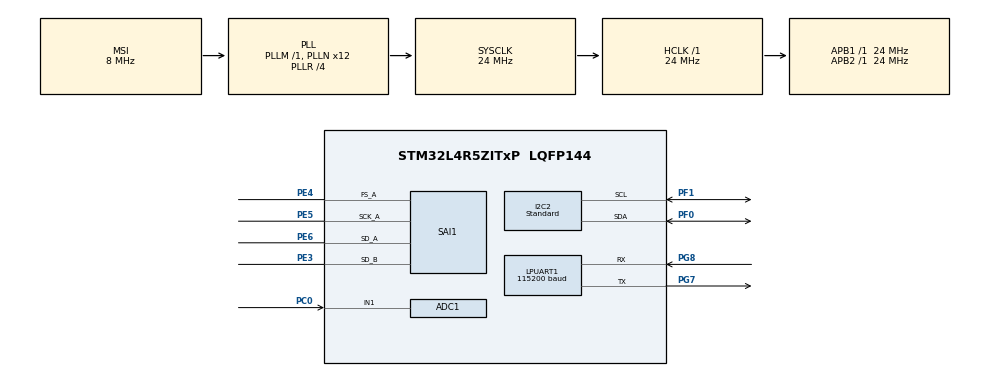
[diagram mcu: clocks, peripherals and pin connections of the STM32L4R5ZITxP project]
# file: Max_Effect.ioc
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ADC1.Channel-0\#ChannelRegularConversion=ADC_CHANNEL_1
ADC1.ClockPrescaler=ADC_CLOCK_ASYNC_DIV16
ADC1.NbrOfConversion=1
ADC1.NbrOfConversionFlag=1
ADC1.OffsetNumber-0\#ChannelRegularConversion=ADC_OFFSET_NONE
ADC1.Rank-0\#ChannelRegularConversion=1
ADC1.SamplingTime-0\#ChannelRegularConversion=ADC_SAMPLETIME_2CYCLES_5
ADC1.master=1
Dma.Request0=SAI1_A
Dma.Request1=SAI1_B
Dma.SAI1_A.0.Direction=DMA_MEMORY_TO_PERIPH
Dma.SAI1_A.0.EventEnable=DISABLE
Dma.SAI1_A.0.Instance=DMA1_Channel1
Dma.SAI1_A.0.MemDataAlignment=DMA_MDATAALIGN_HALFWORD
Dma.SAI1_A.0.MemInc=DMA_MINC_ENABLE
Dma.SAI1_A.0.Mode=DMA_CIRCULAR
Dma.SAI1_A.0.PeriphDataAlignment=DMA_PDATAALIGN_HALFWORD
Dma.SAI1_A.0.PeriphInc=DMA_PINC_DISABLE
Dma.SAI1_A.0.Polarity=HAL_DMAMUX_REQUEST_GEN_RISING
Dma.SAI1_A.0.Priority=DMA_PRIORITY_HIGH
Dma.SAI1_A.0.RequestNumber=1
Dma.SAI1_A.0.SignalID=NONE
Dma.SAI1_A.0.SyncEnable=DISABLE
Dma.SAI1_A.0.SyncPolarity=HAL_DMAMUX_SYNC_NO_EVENT
Dma.SAI1_A.0.SyncRequestNumber=1
Dma.SAI1_A.0.SyncSignalID=NONE
Dma.SAI1_B.1.Direction=DMA_PERIPH_TO_MEMORY
Dma.SAI1_B.1.EventEnable=DISABLE
Dma.SAI1_B.1.Instance=DMA1_Channel2
Dma.SAI1_B.1.MemDataAlignment=DMA_MDATAALIGN_HALFWORD
Dma.SAI1_B.1.MemInc=DMA_MINC_ENABLE
Dma.SAI1_B.1.Mode=DMA_CIRCULAR
Dma.SAI1_B.1.PeriphDataAlignment=DMA_PDATAALIGN_HALFWORD
Dma.SAI1_B.1.PeriphInc=DMA_PINC_DISABLE
Dma.SAI1_B.1.Polarity=HAL_DMAMUX_REQUEST_GEN_RISING
Dma.SAI1_B.1.Priority=DMA_PRIORITY_HIGH
Dma.SAI1_B.1.RequestNumber=1
Dma.SAI1_B.1.SignalID=NONE
Dma.SAI1_B.1.SyncEnable=DISABLE
Dma.SAI1_B.1.SyncPolarity=HAL_DMAMUX_SYNC_NO_EVENT
Dma.SAI1_B.1.SyncRequestNumber=1
Dma.SAI1_B.1.SyncSignalID=NONE
I2C2.CustomTiming=Disabled
I2C2.I2C_Fall_Time=100
I2C2.I2C_Rise_Time=100
I2C2.I2C_Speed_Mode=I2C_Standard
I2C2.Timing=0x00805C87
LPUART1.BaudRate=115200
LPUART1.WordLength=UART_WORDLENGTH_8B
Mcu.Family=STM32L4
Mcu.Name=STM32L4R5ZITxP
Mcu.Package=LQFP144
NVIC.DMA1_Channel1_IRQn=true\:0\:0\:false\:false\:true\:false\:true\:true
NVIC.DMA1_Channel2_IRQn=true\:0\:0\:false\:false\:true\:false\:true\:true
NVIC.PriorityGroup=NVIC_PRIORITYGROUP_4
NVIC.SAI1_IRQn=true\:0\:0\:false\:false\:true\:true\:true\:true
PA0.Signal=S_TIM2_CH1
PA1.Signal=ADCx_IN6
PA10.Signal=USB_OTG_FS_ID
PA13\ (JTMS/SWDIO).Signal=SYS_JTMS-SWDIO
PA14\ (JTCK/SWCLK).Signal=SYS_JTCK-SWCLK
PA3.Signal=ADCx_IN8
PA4.Signal=SPI1_NSS
PA5.Signal=SPI1_SCK
PA6.Signal=SPI1_MISO
PA7.Signal=SPI1_MOSI
PA8.Signal=USB_OTG_FS_SOF
PA9.Signal=USB_OTG_FS_VBUS
PB0.Signal=S_TIM3_CH3
PB1.Signal=ADCx_IN16
PB10.Signal=S_TIM2_CH3
PB12.Signal=SAI2_FS_A
PB13.Signal=SAI2_SCK_A
PB14.Signal=S_TIM15_CH1
PB15.Signal=SAI2_SD_A
PB2.Signal=COMP1_INP
PB3\ (JTDO/TRACESWO).Signal=SPI3_SCK
PB4\ (NJTRST).Signal=SPI3_MISO
PB5.Signal=SPI3_MOSI
PB6.Signal=COMP2_INP
PB8.Signal=I2C1_SCL
PB9.Signal=I2C1_SDA
PC0.Signal=ADCx_IN1
PC1.Signal=ADCx_IN2
PC10.Signal=SDMMC1_D2
PC11.Signal=SDMMC1_D3
PC12.Signal=SDMMC1_CK
PC13.Signal=SYS_WKUP2
PC14-OSC32_IN\ (PC14).Signal=RCC_OSC32_IN
PC15-OSC32_OUT\ (PC15).Signal=RCC_OSC32_OUT
PC2.Signal=ADCx_IN3
PC3.Signal=ADCx_IN4
PC4.Signal=ADCx_IN13
PC5.Signal=ADCx_IN14
PC6.Signal=SAI2_MCLK_A
PC7.Signal=S_TIM3_CH2
PC8.Signal=SDMMC1_D0
PC9.Signal=SDMMC1_D1
PD0.Signal=CAN1_RX
PD14.Signal=S_TIM4_CH3
PD15.Signal=S_TIM4_CH4
PD2.Signal=SDMMC1_CMD
PD3.Signal=USART2_CTS
PD4.Signal=USART2_RTS
PD5.Signal=USART2_TX
PD6.Signal=USART2_RX
PD8.Signal=USART3_TX
PD9.Signal=USART3_RX
PE0.Signal=S_TIM4_ETR
PE10.Signal=TIM1_CH2N
PE11.Signal=S_TIM1_CH2
PE12.Signal=TIM1_CH3N
PE13.Signal=S_TIM1_CH3
PE14.Signal=TIM1_BKIN2
PE15.Signal=TIM1_BKIN
PE2.Signal=SAI1_MCLK_A
PE3.Mode=SAI_B_SyncSlave
PE3.Signal=SAI1_SD_B
PE4.Mode=SAI_A_AsyncSlave
PE4.Signal=SAI1_FS_A
PE5.Mode=SAI_A_AsyncSlave
PE5.Signal=SAI1_SCK_A
PE6.Mode=SAI_A_AsyncSlave
PE6.Signal=SAI1_SD_A
PE7.Signal=S_TIM1_ETR
PE8.Signal=TIM1_CH1N
PE9.Signal=S_TIM1_CH1
PF0.Mode=I2C
PF0.Signal=I2C2_SDA
PF1.Mode=I2C
PF1.Signal=I2C2_SCL
PF2.Signal=I2C2_SMBA
PF7.Signal=SAI1_MCLK_B
PG7.Mode=Asynchronous
PG7.Signal=LPUART1_TX
PG8.Mode=Asynchronous
PG8.Signal=LPUART1_RX
PH0-OSC_IN\ (PH0).Signal=RCC_OSC_IN
PH1-OSC_OUT\ (PH1).Signal=RCC_OSC_OUT
ProjectManager.HeapSize=0x200
ProjectManager.StackSize=0x400
ProjectManager.TargetToolchain=STM32CubeIDE
RCC.ADCFreq_Value=16000000
RCC.AHBFreq_Value=24000000
RCC.APB1Freq_Value=24000000
RCC.APB1TimFreq_Value=24000000
RCC.APB2Freq_Value=24000000
RCC.APB2TimFreq_Value=24000000
RCC.CortexFreq_Value=24000000
RCC.HCLKFreq_Value=24000000
RCC.HSE_VALUE=8000000
RCC.HSI48_VALUE=48000000
RCC.HSI_VALUE=16000000
RCC.LSE_VALUE=32768
RCC.MSIClockRange=RCC_MSIRANGE_7
RCC.MSI_VALUE=8000000
RCC.PLLN=12
RCC.PLLR=RCC_PLLR_DIV4
RCC.PLLSAI1N=12
RCC.PLLSAI1P=RCC_PLLP_DIV4
RCC.PLLSAI1R=RCC_PLLR_DIV6
RCC.SYSCLKFreq_VALUE=24000000
RCC.SYSCLKSource=RCC_SYSCLKSOURCE_PLLCLK
RCC.USBFreq_Value=48000000
RCC.VCOOutputFreq_Value=96000000
SAI1.AudioMode-SAI_A_AsyncSlave=SAI_MODESLAVE_TX
SAI1.InitProtocol-SAI_A_AsyncSlave=Enable
SAI1.InitProtocol-SAI_B_SyncSlave=Enable
SAI1.Instance-SAI_A_AsyncSlave=SAI$Index_Block_A
SAI1.Instance-SAI_B_SyncSlave=SAI$Index_Block_B
SAI1.MonoStereoMode-SAI_B_SyncSlave=SAI_STEREOMODE
SAI1.VirtualMode-SAI_A_AsyncSlave=VM_SLAVE
SAI1.VirtualMode-SAI_B_SyncSlave=VM_SLAVE
SAI1.VirtualProtocol-SAI_A_BASIC=VM_BASIC_PROTOCOL
SAI1.VirtualProtocol-SAI_B_BASIC=VM_BASIC_PROTOCOL
SH.ADCx_IN1.0=ADC1_IN1,IN1-Single-Ended
SH.ADCx_IN13.0=ADC1_IN13
SH.ADCx_IN14.0=ADC1_IN14
SH.ADCx_IN16.0=ADC1_IN16
SH.ADCx_IN2.0=ADC1_IN2
SH.ADCx_IN3.0=ADC1_IN3
SH.ADCx_IN4.0=ADC1_IN4
SH.ADCx_IN6.0=ADC1_IN6
SH.ADCx_IN8.0=ADC1_IN8
SH.S_TIM15_CH1.0=TIM15_CH1
SH.S_TIM1_CH1.0=TIM1_CH1
SH.S_TIM1_CH2.0=TIM1_CH2
SH.S_TIM1_CH3.0=TIM1_CH3
SH.S_TIM1_ETR.0=TIM1_ETR
SH.S_TIM2_CH1.0=TIM2_CH1
SH.S_TIM2_CH3.0=TIM2_CH3
SH.S_TIM3_CH2.0=TIM3_CH2
SH.S_TIM3_CH3.0=TIM3_CH3
SH.S_TIM4_CH3.0=TIM4_CH3
SH.S_TIM4_CH4.0=TIM4_CH4
SH.S_TIM4_ETR.0=TIM4_ETR
VP_SAI1_VP_$IpInstance_SAIA_SAI_BASIC.Mode=SAI_A_BASIC
VP_SAI1_VP_$IpInstance_SAIB_SAI_BASIC.Mode=SAI_B_BASIC
board=NUCLEO-L4R5ZI-P

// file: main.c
/* USER CODE BEGIN Header */
/**
  ******************************************************************************
  * @file           : main.c
  * @brief          : Main program body
  ******************************************************************************
  * @attention
  *
  * Copyright (c) 2026 STMicroelectronics.
  * All rights reserved.
  *
  * This software is licensed under terms that can be found in the LICENSE file
  * in the root directory of this software component.
  * If no LICENSE file comes with this software, it is provided AS-IS.
  *
  ******************************************************************************
  *
  * For Max Effect Project
  *
  ******************************************************************************
  */
/* USER CODE END Header */
#include "main.h"

/* USER CODE BEGIN Includes */
#include <stdio.h>
#include "UI_headers/tuner.h"
#define MCU_ADC_DMA
#include "UI_headers/adc_audio.h"
#include "UI_headers/pedal_effect.h"
/* USER CODE END Includes */

/* USER CODE BEGIN PD */

// #define RELEASE
//#define _DEBUG_
// #define TUNER
//#define PEDAL_EFFECTS
// #define SCREEN
#define CODEC
//#define FILTER

#if defined(MCU_ADC_DMA) && (!defined(CODEC) || defined(FILTER) || defined(PEDAL_EFFECTS) || defined(TUNER))
#error "ADC DMA passthrough owns the audio stream; disable other test modes."
#endif

/* USER CODE END PD */

ADC_HandleTypeDef hadc1;

I2C_HandleTypeDef hi2c2;

UART_HandleTypeDef hlpuart1;

SAI_HandleTypeDef hsai_BlockA1;
SAI_HandleTypeDef hsai_BlockB1;
DMA_HandleTypeDef hdma_sai1_a;
DMA_HandleTypeDef hdma_sai1_b;

void SystemClock_Config(void);
void PeriphCommonClock_Config(void);
static void MX_GPIO_Init(void);
static void MX_DMA_Init(void);
static void MX_ADC1_Init(void);
static void MX_LPUART1_UART_Init(void);
static void MX_I2C2_Init(void);
static void MX_SAI1_Init(void);

/* USER CODE BEGIN 0 */
int __io_putchar(int ch) {
    HAL_UART_Transmit(&hlpuart1, (uint8_t *)&ch, 1, HAL_MAX_DELAY);
    return ch;
}
#define NUM_PRESETS 3
Preset presets[NUM_PRESETS];
/* USER CODE END 0 */

int main(void)
{

  /* MCU Configuration--------------------------------------------------------*/

  /* Reset of all peripherals, Initializes the Flash interface and the Systick. */
  HAL_Init();

  /* Configure the system clock */
  SystemClock_Config();

  /* Configure the peripherals common clocks */
  PeriphCommonClock_Config();

  /* Initialize all configured peripherals */
  MX_GPIO_Init();
  MX_DMA_Init();
  MX_ADC1_Init();
  MX_LPUART1_UART_Init();
  MX_I2C2_Init();
  MX_SAI1_Init();
  /* USER CODE BEGIN 2 */
  uint8_t chain_length = 0; // Current length of the effect chain
  effect_pair effect_chain[NUM_EFFECTS];
  //  pitch_detection_demo();
  // tuning and pitch detection
  /* Performance considerations
  - FFT size: Larger = better frequency resolution
  - Sample rate: Higher = detect higher frequencies
  - Window function: Reduces spectral leakage
  - HPS: Good for harmonic sounds
  - Autocorrelation: Robust to noise
  - Combine methods for better accuracy
  */
  double sample_rate = 66666.67; // base on ADC sample rate(1MHz, 12b resolution, 2.5 cycles/sample) = 66666.67 Hz
  const int n_tune = 1024, n_effects = 256; // signal length/chunks
  complex_t *effect_signal_cplx = allocate_complex_array(n_effects);
  complex_t *tune_signal_cplx = allocate_complex_array(n_tune);
  int16_t effect_signal[n_effects];
//  int16_t tune_signal[n_tune];
  #ifdef CODEC
  // Initialize the audio codec
  if (!codec_init_WM8960()) {
      printf("Codec initialization failed!\n");
      return -1;
  }

#ifdef _DEBUG_
  GPIO_InitTypeDef g = {0};
  for (int pull = 0; pull < 2; pull++) {
      g.Pin = GPIO_PIN_5; g.Mode = GPIO_MODE_INPUT;
      g.Pull = pull ? GPIO_PULLDOWN : GPIO_PULLUP;
      HAL_GPIO_Init(GPIOE, &g);
      HAL_Delay(1);
      printf("PE5 %s: %d\n", pull ? "pull-down" : "pull-up",
             (int)HAL_GPIO_ReadPin(GPIOE, GPIO_PIN_5));
  }
  // then restore PE5: GPIO_MODE_AF_PP, GPIO_NOPULL, AF13
  g.Mode = GPIO_MODE_AF_PP; g.Speed = GPIO_SPEED_FREQ_LOW; g.Alternate = GPIO_AF13_SAI1;
  HAL_GPIO_Init(GPIOE, &g);                                    // restore the SAI function
#endif

  if (!adc_audio_start()) {
      printf("ADC timer/DMA initialization failed!\n");
      Error_Handler();
  }
  if (!audio_start()){
      adc_audio_stop();
  	  printf("DMA initialization failed!\n");
  	  return -1;
    }
  int gain = -5, DAC_gain = 0;
  codec_set_intput_gain(gain);
  codec_set_ADC_gain(gain);
  codec_set_DAC_gain(DAC_gain);
  codec_set_output_gain(gain);
  #endif
#ifdef FILTER
  // ... System Init, CMSIS-DSP Setup ...

  // Set filter to Lowpass 1kHz at runtime
  update_my_FIR_filter(FILTER_LOWPASS, 1000.0f, 0.0f, 46875.0f);
#endif
  /* USER CODE END 2 */

  /* Infinite loop */
  /* USER CODE BEGIN WHILE */
  while (1)
  {
	  #ifdef TUNER
	  printf("\nGetting signal...\n");
	  // ADC value to complex_t array conversion
	  get_input_signal(tune_signal, n_tune);
	  printf("\nProcessing signal...\n");
	  // Apply window to reduce spectral leakage
	  //	  apply_window_hann(signal, n);
	  // Process signal with FFT
	  //	  memcpy(spectrum, signal, n * sizeof(complex_t));
	  radix2_dif_fft(tune_signal, n_tune, FFT_FORWARD);
	  printf("\nGetting frequency...\n");
	  double pitch_hps = detect_pitch_hps(tune_signal, n_tune, sample_rate, 3);
	  //	  double pitch_autocorr = detect_pitch_autocorr(signal, n, sample_rate);
	  //	  printf("True frequency: 440.00 Hz (A4)\n");
	  printf("HPS method: %.2f Hz\n", pitch_hps);
	  //	  printf("Autocorrelation: %.2f Hz (error: %.2f Hz)\n",
	  //		  pitch_autocorr, pitch_autocorr - 440);
	  // code for tuning)
	  printf(frequency_to_note_name(pitch_hps));
	  //	  HAL_Delay(1);
	  #endif

	  #ifdef PEDAL_EFFECTS
	  if(!input_from_codec(effect_signal, n_effects)) continue;
  //	  get_input_MCU_signal(effect_signal, n_effects);
	  // Example: Add effects to the chain
	  params wah_params = {true, {50}}; // Example Wah, enabled, 50%
	  chain_length = append_effect(E_WAH, wah_params, effect_chain, chain_length);
	  // Apply the effect chain to the signal
	  apply_effect_chain(effect_signal, n_effects, effect_chain, chain_length);
	  // Output the processed signal (implementation depends on hardware)
	  output2codec(effect_signal, n_effects);
	  #endif
	  #ifdef CODEC
          /* ADC DMA -> signed PCM FIFO -> SAI DMA runs in callbacks.
           * Inspect audio_timing_stats here; no polled ADC or block writes. */
          if (audio_timing_stats.adc_error || audio_timing_stats.sai_error) {
              adc_audio_stop();
              Error_Handler();
          }
          __WFI();
	  #endif
#ifdef FILTER
	  // If an event or user changes a setting, simply call update_my_filter again!
	  	  input_from_codec(effect_signal, n_effects);
	  //	  get_input_MCU_signal(effect_signal, n_effects);

	  	  //filter
	  	Process_DSP_Block(&effect_signal[0],&effect_signal[0]);
	  	  // send signal to codec for output (testing no effects latency)
	  	  output2codec(effect_signal, n_effects);
#endif
    /* USER CODE END WHILE */

    /* USER CODE BEGIN 3 */
  }
  free_complex_array(tune_signal_cplx);
  free_complex_array(effect_signal_cplx);
  /* USER CODE END 3 */
}

void SystemClock_Config(void)
{
  RCC_OscInitTypeDef RCC_OscInitStruct = {0};
  RCC_ClkInitTypeDef RCC_ClkInitStruct = {0};

  /** Configure the main internal regulator output voltage
  */
  if (HAL_PWREx_ControlVoltageScaling(PWR_REGULATOR_VOLTAGE_SCALE1) != HAL_OK)
  {
    Error_Handler();
  }

  /** Initializes the RCC Oscillators according to the specified parameters
  * in the RCC_OscInitTypeDef structure.
  */
  RCC_OscInitStruct.OscillatorType = RCC_OSCILLATORTYPE_MSI;
  RCC_OscInitStruct.MSIState = RCC_MSI_ON;
  RCC_OscInitStruct.MSICalibrationValue = 0;
  RCC_OscInitStruct.MSIClockRange = RCC_MSIRANGE_7;
  RCC_OscInitStruct.PLL.PLLState = RCC_PLL_ON;
  RCC_OscInitStruct.PLL.PLLSource = RCC_PLLSOURCE_MSI;
  RCC_OscInitStruct.PLL.PLLM = 1;
  RCC_OscInitStruct.PLL.PLLN = 12;
  RCC_OscInitStruct.PLL.PLLP = RCC_PLLP_DIV2;
  RCC_OscInitStruct.PLL.PLLQ = RCC_PLLQ_DIV2;
  RCC_OscInitStruct.PLL.PLLR = RCC_PLLR_DIV4;
  if (HAL_RCC_OscConfig(&RCC_OscInitStruct) != HAL_OK)
  {
    Error_Handler();
  }

  /** Initializes the CPU, AHB and APB buses clocks
  */
  RCC_ClkInitStruct.ClockType = RCC_CLOCKTYPE_HCLK|RCC_CLOCKTYPE_SYSCLK
                              |RCC_CLOCKTYPE_PCLK1|RCC_CLOCKTYPE_PCLK2;
  RCC_ClkInitStruct.SYSCLKSource = RCC_SYSCLKSOURCE_PLLCLK;
  RCC_ClkInitStruct.AHBCLKDivider = RCC_SYSCLK_DIV1;
  RCC_ClkInitStruct.APB1CLKDivider = RCC_HCLK_DIV1;
  RCC_ClkInitStruct.APB2CLKDivider = RCC_HCLK_DIV1;

  if (HAL_RCC_ClockConfig(&RCC_ClkInitStruct, FLASH_LATENCY_1) != HAL_OK)
  {
    Error_Handler();
  }
}

void PeriphCommonClock_Config(void)
{
  RCC_PeriphCLKInitTypeDef PeriphClkInit = {0};

  /** Initializes the peripherals clock
  */
  PeriphClkInit.PeriphClockSelection = RCC_PERIPHCLK_SAI1|RCC_PERIPHCLK_ADC;
  PeriphClkInit.Sai1ClockSelection = RCC_SAI1CLKSOURCE_PLLSAI1;
  PeriphClkInit.AdcClockSelection = RCC_ADCCLKSOURCE_PLLSAI1;
  PeriphClkInit.PLLSAI1.PLLSAI1Source = RCC_PLLSOURCE_MSI;
  PeriphClkInit.PLLSAI1.PLLSAI1M = 1;
  PeriphClkInit.PLLSAI1.PLLSAI1N = 12;
  PeriphClkInit.PLLSAI1.PLLSAI1P = RCC_PLLP_DIV4;
  PeriphClkInit.PLLSAI1.PLLSAI1Q = RCC_PLLQ_DIV2;
  PeriphClkInit.PLLSAI1.PLLSAI1R = RCC_PLLR_DIV6;
  PeriphClkInit.PLLSAI1.PLLSAI1ClockOut = RCC_PLLSAI1_SAI1CLK|RCC_PLLSAI1_ADC1CLK;
  if (HAL_RCCEx_PeriphCLKConfig(&PeriphClkInit) != HAL_OK)
  {
    Error_Handler();
  }
}

static void MX_ADC1_Init(void)
{

  ADC_ChannelConfTypeDef sConfig = {0};

  /** Common config
  */
  hadc1.Instance = ADC1;
  hadc1.Init.ClockPrescaler = ADC_CLOCK_ASYNC_DIV16;
  hadc1.Init.Resolution = ADC_RESOLUTION_12B;
  hadc1.Init.DataAlign = ADC_DATAALIGN_RIGHT;
  hadc1.Init.ScanConvMode = ADC_SCAN_DISABLE;
  hadc1.Init.EOCSelection = ADC_EOC_SINGLE_CONV;
  hadc1.Init.LowPowerAutoWait = DISABLE;
  hadc1.Init.ContinuousConvMode = DISABLE;
  hadc1.Init.NbrOfConversion = 1;
  hadc1.Init.DiscontinuousConvMode = DISABLE;
  hadc1.Init.ExternalTrigConv = ADC_SOFTWARE_START;
  hadc1.Init.ExternalTrigConvEdge = ADC_EXTERNALTRIGCONVEDGE_NONE;
  hadc1.Init.DMAContinuousRequests = DISABLE;
  hadc1.Init.Overrun = ADC_OVR_DATA_PRESERVED;
  hadc1.Init.OversamplingMode = DISABLE;
  if (HAL_ADC_Init(&hadc1) != HAL_OK)
  {
    Error_Handler();
  }

  /** Configure Regular Channel
  */
  sConfig.Channel = ADC_CHANNEL_1;
  sConfig.Rank = ADC_REGULAR_RANK_1;
  sConfig.SamplingTime = ADC_SAMPLETIME_2CYCLES_5;
  sConfig.SingleDiff = ADC_SINGLE_ENDED;
  sConfig.OffsetNumber = ADC_OFFSET_NONE;
  sConfig.Offset = 0;
  if (HAL_ADC_ConfigChannel(&hadc1, &sConfig) != HAL_OK)
  {
    Error_Handler();
  }

}

static void MX_I2C2_Init(void)
{

  hi2c2.Instance = I2C2;
  hi2c2.Init.Timing = 0x00805C87;
  hi2c2.Init.OwnAddress1 = 0;
  hi2c2.Init.AddressingMode = I2C_ADDRESSINGMODE_7BIT;
  hi2c2.Init.DualAddressMode = I2C_DUALADDRESS_DISABLE;
  hi2c2.Init.OwnAddress2 = 0;
  hi2c2.Init.OwnAddress2Masks = I2C_OA2_NOMASK;
  hi2c2.Init.GeneralCallMode = I2C_GENERALCALL_DISABLE;
  hi2c2.Init.NoStretchMode = I2C_NOSTRETCH_DISABLE;
  if (HAL_I2C_Init(&hi2c2) != HAL_OK)
  {
    Error_Handler();
  }

  /** Configure Analogue filter
  */
  if (HAL_I2CEx_ConfigAnalogFilter(&hi2c2, I2C_ANALOGFILTER_ENABLE) != HAL_OK)
  {
    Error_Handler();
  }

  /** Configure Digital filter
  */
  if (HAL_I2CEx_ConfigDigitalFilter(&hi2c2, 0) != HAL_OK)
  {
    Error_Handler();
  }

}

static void MX_LPUART1_UART_Init(void)
{

  hlpuart1.Instance = LPUART1;
  hlpuart1.Init.BaudRate = 115200;
  hlpuart1.Init.WordLength = UART_WORDLENGTH_8B;
  hlpuart1.Init.StopBits = UART_STOPBITS_1;
  hlpuart1.Init.Parity = UART_PARITY_NONE;
  hlpuart1.Init.Mode = UART_MODE_TX_RX;
  hlpuart1.Init.HwFlowCtl = UART_HWCONTROL_NONE;
  hlpuart1.Init.OneBitSampling = UART_ONE_BIT_SAMPLE_DISABLE;
  hlpuart1.Init.ClockPrescaler = UART_PRESCALER_DIV1;
  hlpuart1.AdvancedInit.AdvFeatureInit = UART_ADVFEATURE_NO_INIT;
  hlpuart1.FifoMode = UART_FIFOMODE_DISABLE;
  if (HAL_UART_Init(&hlpuart1) != HAL_OK)
  {
    Error_Handler();
  }
  if (HAL_UARTEx_SetTxFifoThreshold(&hlpuart1, UART_TXFIFO_THRESHOLD_1_8) != HAL_OK)
  {
    Error_Handler();
  }
  if (HAL_UARTEx_SetRxFifoThreshold(&hlpuart1, UART_RXFIFO_THRESHOLD_1_8) != HAL_OK)
  {
    Error_Handler();
  }
  if (HAL_UARTEx_DisableFifoMode(&hlpuart1) != HAL_OK)
  {
    Error_Handler();
  }

}

static void MX_SAI1_Init(void)
{

  hsai_BlockA1.Instance = SAI1_Block_A;
  hsai_BlockA1.Init.AudioMode = SAI_MODESLAVE_TX;
  hsai_BlockA1.Init.Synchro = SAI_ASYNCHRONOUS;
  hsai_BlockA1.Init.OutputDrive = SAI_OUTPUTDRIVE_DISABLE;
  hsai_BlockA1.Init.FIFOThreshold = SAI_FIFOTHRESHOLD_EMPTY;
  hsai_BlockA1.Init.SynchroExt = SAI_SYNCEXT_DISABLE;
  hsai_BlockA1.Init.MonoStereoMode = SAI_STEREOMODE;
  hsai_BlockA1.Init.CompandingMode = SAI_NOCOMPANDING;
  hsai_BlockA1.Init.TriState = SAI_OUTPUT_NOTRELEASED;
  if (HAL_SAI_InitProtocol(&hsai_BlockA1, SAI_I2S_STANDARD, SAI_PROTOCOL_DATASIZE_16BIT, 2) != HAL_OK)
  {
    Error_Handler();
  }
  hsai_BlockB1.Instance = SAI1_Block_B;
  hsai_BlockB1.Init.AudioMode = SAI_MODESLAVE_RX;
  hsai_BlockB1.Init.Synchro = SAI_SYNCHRONOUS;
  hsai_BlockB1.Init.OutputDrive = SAI_OUTPUTDRIVE_DISABLE;
  hsai_BlockB1.Init.FIFOThreshold = SAI_FIFOTHRESHOLD_EMPTY;
  hsai_BlockB1.Init.SynchroExt = SAI_SYNCEXT_DISABLE;
  hsai_BlockB1.Init.MonoStereoMode = SAI_STEREOMODE;
  hsai_BlockB1.Init.CompandingMode = SAI_NOCOMPANDING;
  hsai_BlockB1.Init.TriState = SAI_OUTPUT_NOTRELEASED;
  if (HAL_SAI_InitProtocol(&hsai_BlockB1, SAI_I2S_STANDARD, SAI_PROTOCOL_DATASIZE_16BIT, 2) != HAL_OK)
  {
    Error_Handler();
  }

}

static void MX_DMA_Init(void)
{

  /* DMA controller clock enable */
  __HAL_RCC_DMAMUX1_CLK_ENABLE();
  __HAL_RCC_DMA1_CLK_ENABLE();

  /* DMA interrupt init */
  /* DMA1_Channel1_IRQn interrupt configuration */
  HAL_NVIC_SetPriority(DMA1_Channel1_IRQn, 0, 0);
  HAL_NVIC_EnableIRQ(DMA1_Channel1_IRQn);
  /* DMA1_Channel2_IRQn interrupt configuration */
  HAL_NVIC_SetPriority(DMA1_Channel2_IRQn, 0, 0);
  HAL_NVIC_EnableIRQ(DMA1_Channel2_IRQn);

}

static void MX_GPIO_Init(void)
{
  GPIO_InitTypeDef GPIO_InitStruct = {0};

  /* GPIO Ports Clock Enable */
  __HAL_RCC_GPIOE_CLK_ENABLE();
  __HAL_RCC_GPIOC_CLK_ENABLE();
  __HAL_RCC_GPIOF_CLK_ENABLE();
  __HAL_RCC_GPIOH_CLK_ENABLE();
  __HAL_RCC_GPIOA_CLK_ENABLE();
  __HAL_RCC_GPIOB_CLK_ENABLE();
  __HAL_RCC_GPIOD_CLK_ENABLE();
  __HAL_RCC_GPIOG_CLK_ENABLE();
  HAL_PWREx_EnableVddIO2();

  /*Configure GPIO pin : PA0 */
  GPIO_InitStruct.Pin = GPIO_PIN_0;
  GPIO_InitStruct.Mode = GPIO_MODE_AF_PP;
  GPIO_InitStruct.Pull = GPIO_NOPULL;
  GPIO_InitStruct.Speed = GPIO_SPEED_FREQ_LOW;
  GPIO_InitStruct.Alternate = GPIO_AF1_TIM2;
  HAL_GPIO_Init(GPIOA, &GPIO_InitStruct);

  /*Configure GPIO pins : PA4 PA5 PA6 PA7 */
  GPIO_InitStruct.Pin = GPIO_PIN_4|GPIO_PIN_5|GPIO_PIN_6|GPIO_PIN_7;
  GPIO_InitStruct.Mode = GPIO_MODE_AF_PP;
  GPIO_InitStruct.Pull = GPIO_NOPULL;
  GPIO_InitStruct.Speed = GPIO_SPEED_FREQ_VERY_HIGH;
  GPIO_InitStruct.Alternate = GPIO_AF5_SPI1;
  HAL_GPIO_Init(GPIOA, &GPIO_InitStruct);

  /*Configure GPIO pin : PB0 */
  GPIO_InitStruct.Pin = GPIO_PIN_0;
  GPIO_InitStruct.Mode = GPIO_MODE_AF_PP;
  GPIO_InitStruct.Pull = GPIO_NOPULL;
  GPIO_InitStruct.Speed = GPIO_SPEED_FREQ_LOW;
  GPIO_InitStruct.Alternate = GPIO_AF2_TIM3;
  HAL_GPIO_Init(GPIOB, &GPIO_InitStruct);

  /*Configure GPIO pins : PB2 PB6 */
  GPIO_InitStruct.Pin = GPIO_PIN_2|GPIO_PIN_6;
  GPIO_InitStruct.Mode = GPIO_MODE_ANALOG;
  GPIO_InitStruct.Pull = GPIO_NOPULL;
  HAL_GPIO_Init(GPIOB, &GPIO_InitStruct);

  /*Configure GPIO pins : PE7 PE8 PE9 PE10
                           PE11 PE12 PE13 */
  GPIO_InitStruct.Pin = GPIO_PIN_7|GPIO_PIN_8|GPIO_PIN_9|GPIO_PIN_10
                          |GPIO_PIN_11|GPIO_PIN_12|GPIO_PIN_13;
  GPIO_InitStruct.Mode = GPIO_MODE_AF_PP;
  GPIO_InitStruct.Pull = GPIO_NOPULL;
  GPIO_InitStruct.Speed = GPIO_SPEED_FREQ_LOW;
  GPIO_InitStruct.Alternate = GPIO_AF1_TIM1;
  HAL_GPIO_Init(GPIOE, &GPIO_InitStruct);

  /*Configure GPIO pins : PE14 PE15 */
  GPIO_InitStruct.Pin = GPIO_PIN_14|GPIO_PIN_15;
  GPIO_InitStruct.Mode = GPIO_MODE_AF_PP;
  GPIO_InitStruct.Pull = GPIO_NOPULL;
  GPIO_InitStruct.Speed = GPIO_SPEED_FREQ_LOW;
  GPIO_InitStruct.Alternate = GPIO_AF3_TIM1_COMP1;
  HAL_GPIO_Init(GPIOE, &GPIO_InitStruct);

  /*Configure GPIO pin : PB10 */
  GPIO_InitStruct.Pin = GPIO_PIN_10;
  GPIO_InitStruct.Mode = GPIO_MODE_AF_PP;
  GPIO_InitStruct.Pull = GPIO_NOPULL;
  GPIO_InitStruct.Speed = GPIO_SPEED_FREQ_LOW;
  GPIO_InitStruct.Alternate = GPIO_AF1_TIM2;
  HAL_GPIO_Init(GPIOB, &GPIO_InitStruct);

  /*Configure GPIO pins : PB12 PB13 PB15 */
  GPIO_InitStruct.Pin = GPIO_PIN_12|GPIO_PIN_13|GPIO_PIN_15;
  GPIO_InitStruct.Mode = GPIO_MODE_AF_PP;
  GPIO_InitStruct.Pull = GPIO_NOPULL;
  GPIO_InitStruct.Speed = GPIO_SPEED_FREQ_LOW;
  GPIO_InitStruct.Alternate = GPIO_AF13_SAI2;
  HAL_GPIO_Init(GPIOB, &GPIO_InitStruct);

  /*Configure GPIO pin : PB14 */
  GPIO_InitStruct.Pin = GPIO_PIN_14;
  GPIO_InitStruct.Mode = GPIO_MODE_AF_PP;
  GPIO_InitStruct.Pull = GPIO_NOPULL;
  GPIO_InitStruct.Speed = GPIO_SPEED_FREQ_LOW;
  GPIO_InitStruct.Alternate = GPIO_AF14_TIM15;
  HAL_GPIO_Init(GPIOB, &GPIO_InitStruct);

  /*Configure GPIO pins : PD8 PD9 */
  GPIO_InitStruct.Pin = GPIO_PIN_8|GPIO_PIN_9;
  GPIO_InitStruct.Mode = GPIO_MODE_AF_PP;
  GPIO_InitStruct.Pull = GPIO_NOPULL;
  GPIO_InitStruct.Speed = GPIO_SPEED_FREQ_VERY_HIGH;
  GPIO_InitStruct.Alternate = GPIO_AF7_USART3;
  HAL_GPIO_Init(GPIOD, &GPIO_InitStruct);

  /*Configure GPIO pins : PD14 PD15 */
  GPIO_InitStruct.Pin = GPIO_PIN_14|GPIO_PIN_15;
  GPIO_InitStruct.Mode = GPIO_MODE_AF_PP;
  GPIO_InitStruct.Pull = GPIO_NOPULL;
  GPIO_InitStruct.Speed = GPIO_SPEED_FREQ_LOW;
  GPIO_InitStruct.Alternate = GPIO_AF2_TIM4;
  HAL_GPIO_Init(GPIOD, &GPIO_InitStruct);

  /*Configure GPIO pin : PC6 */
  GPIO_InitStruct.Pin = GPIO_PIN_6;
  GPIO_InitStruct.Mode = GPIO_MODE_AF_PP;
  GPIO_InitStruct.Pull = GPIO_NOPULL;
  GPIO_InitStruct.Speed = GPIO_SPEED_FREQ_LOW;
  GPIO_InitStruct.Alternate = GPIO_AF13_SAI2;
  HAL_GPIO_Init(GPIOC, &GPIO_InitStruct);

  /*Configure GPIO pin : PC7 */
  GPIO_InitStruct.Pin = GPIO_PIN_7;
  GPIO_InitStruct.Mode = GPIO_MODE_AF_PP;
  GPIO_InitStruct.Pull = GPIO_NOPULL;
  GPIO_InitStruct.Speed = GPIO_SPEED_FREQ_LOW;
  GPIO_InitStruct.Alternate = GPIO_AF2_TIM3;
  HAL_GPIO_Init(GPIOC, &GPIO_InitStruct);

  /*Configure GPIO pins : PC8 PC9 PC10 PC11
                           PC12 */
  GPIO_InitStruct.Pin = GPIO_PIN_8|GPIO_PIN_9|GPIO_PIN_10|GPIO_PIN_11
                          |GPIO_PIN_12;
  GPIO_InitStruct.Mode = GPIO_MODE_AF_PP;
  GPIO_InitStruct.Pull = GPIO_NOPULL;
  GPIO_InitStruct.Speed = GPIO_SPEED_FREQ_VERY_HIGH;
  GPIO_InitStruct.Alternate = GPIO_AF12_SDMMC1;
  HAL_GPIO_Init(GPIOC, &GPIO_InitStruct);

  /*Configure GPIO pins : PA8 PA10 */
  GPIO_InitStruct.Pin = GPIO_PIN_8|GPIO_PIN_10;
  GPIO_InitStruct.Mode = GPIO_MODE_AF_PP;
  GPIO_InitStruct.Pull = GPIO_NOPULL;
  GPIO_InitStruct.Speed = GPIO_SPEED_FREQ_VERY_HIGH;
  GPIO_InitStruct.Alternate = GPIO_AF10_OTG_FS;
  HAL_GPIO_Init(GPIOA, &GPIO_InitStruct);

  /*Configure GPIO pin : PA9 */
  GPIO_InitStruct.Pin = GPIO_PIN_9;
  GPIO_InitStruct.Mode = GPIO_MODE_INPUT;
  GPIO_InitStruct.Pull = GPIO_NOPULL;
  HAL_GPIO_Init(GPIOA, &GPIO_InitStruct);

  /*Configure GPIO pin : PD0 */
  GPIO_InitStruct.Pin = GPIO_PIN_0;
  GPIO_InitStruct.Mode = GPIO_MODE_AF_PP;
  GPIO_InitStruct.Pull = GPIO_NOPULL;
  GPIO_InitStruct.Speed = GPIO_SPEED_FREQ_VERY_HIGH;
  GPIO_InitStruct.Alternate = GPIO_AF9_CAN1;
  HAL_GPIO_Init(GPIOD, &GPIO_InitStruct);

  /*Configure GPIO pin : PD2 */
  GPIO_InitStruct.Pin = GPIO_PIN_2;
  GPIO_InitStruct.Mode = GPIO_MODE_AF_PP;
  GPIO_InitStruct.Pull = GPIO_NOPULL;
  GPIO_InitStruct.Speed = GPIO_SPEED_FREQ_VERY_HIGH;
  GPIO_InitStruct.Alternate = GPIO_AF12_SDMMC1;
  HAL_GPIO_Init(GPIOD, &GPIO_InitStruct);

  /*Configure GPIO pins : PD3 PD4 PD5 PD6 */
  GPIO_InitStruct.Pin = GPIO_PIN_3|GPIO_PIN_4|GPIO_PIN_5|GPIO_PIN_6;
  GPIO_InitStruct.Mode = GPIO_MODE_AF_PP;
  GPIO_InitStruct.Pull = GPIO_NOPULL;
  GPIO_InitStruct.Speed = GPIO_SPEED_FREQ_VERY_HIGH;
  GPIO_InitStruct.Alternate = GPIO_AF7_USART2;
  HAL_GPIO_Init(GPIOD, &GPIO_InitStruct);

  /*Configure GPIO pins : PB3 PB4 PB5 */
  GPIO_InitStruct.Pin = GPIO_PIN_3|GPIO_PIN_4|GPIO_PIN_5;
  GPIO_InitStruct.Mode = GPIO_MODE_AF_PP;
  GPIO_InitStruct.Pull = GPIO_NOPULL;
  GPIO_InitStruct.Speed = GPIO_SPEED_FREQ_VERY_HIGH;
  GPIO_InitStruct.Alternate = GPIO_AF6_SPI3;
  HAL_GPIO_Init(GPIOB, &GPIO_InitStruct);

  /*Configure GPIO pins : PB8 PB9 */
  GPIO_InitStruct.Pin = GPIO_PIN_8|GPIO_PIN_9;
  GPIO_InitStruct.Mode = GPIO_MODE_AF_OD;
  GPIO_InitStruct.Pull = GPIO_NOPULL;
  GPIO_InitStruct.Speed = GPIO_SPEED_FREQ_VERY_HIGH;
  GPIO_InitStruct.Alternate = GPIO_AF4_I2C1;
  HAL_GPIO_Init(GPIOB, &GPIO_InitStruct);

  /*Configure GPIO pin : PE0 */
  GPIO_InitStruct.Pin = GPIO_PIN_0;
  GPIO_InitStruct.Mode = GPIO_MODE_AF_PP;
  GPIO_InitStruct.Pull = GPIO_NOPULL;
  GPIO_InitStruct.Speed = GPIO_SPEED_FREQ_LOW;
  GPIO_InitStruct.Alternate = GPIO_AF2_TIM4;
  HAL_GPIO_Init(GPIOE, &GPIO_InitStruct);

}

void Error_Handler(void)
{
  __disable_irq();
  while (1)
  {
  }
}
